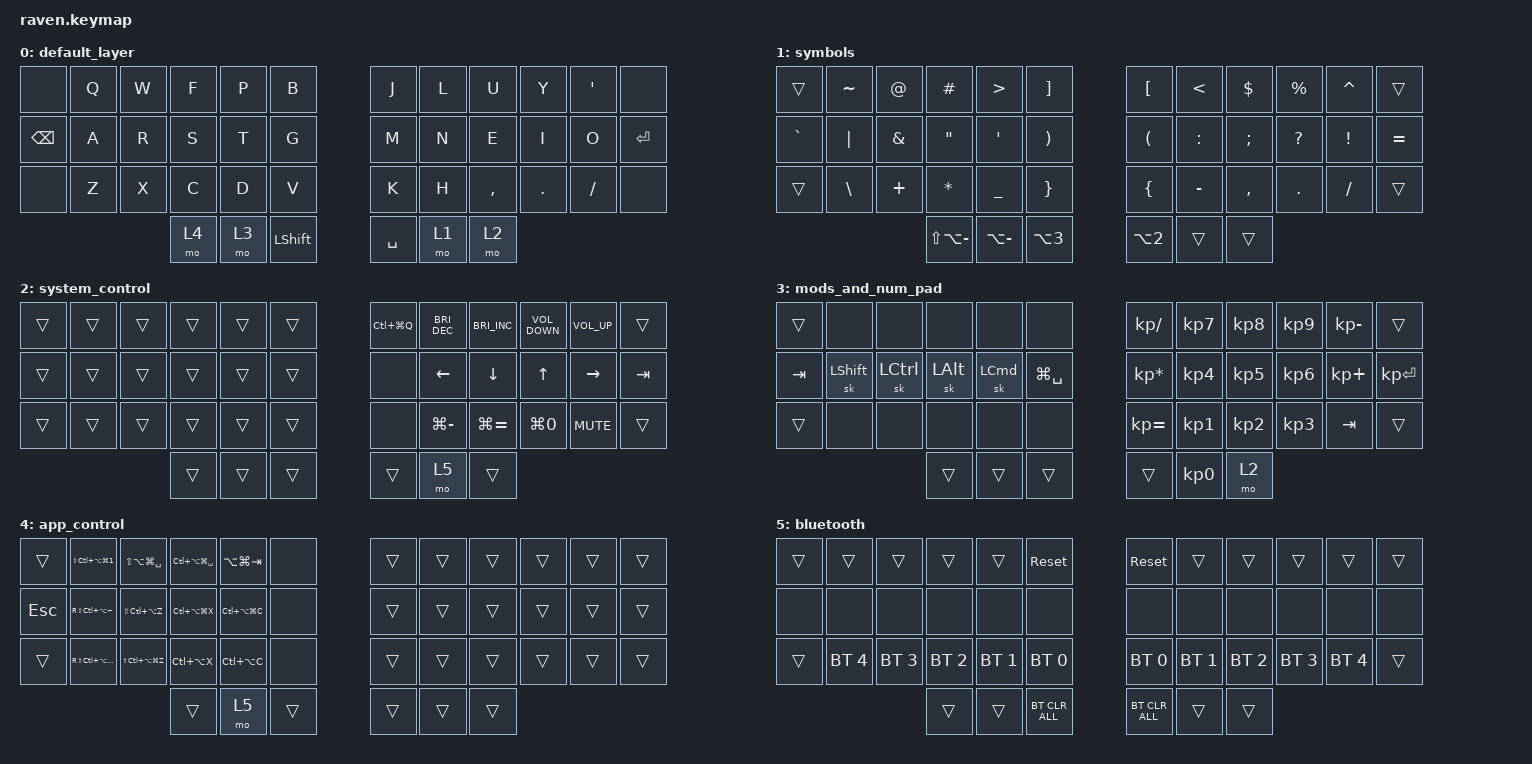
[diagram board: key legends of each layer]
/*
 * Copyright (c) 2020 The ZMK Contributors
 *
 * SPDX-License-Identifier: MIT
 */

#include <behaviors.dtsi>
#include <dt-bindings/zmk/bt.h>
#include <dt-bindings/zmk/keys.h>

&sk { quick-release; };

/ {
    keymap {
        compatible = "zmk,keymap";

        default_layer {
            bindings = <
&none          &kp Q  &kp W  &kp F  &kp P  &kp B           &kp J  &kp L      &kp U      &kp Y    &kp SINGLE_QUOTE  &none
&kp BACKSPACE  &kp A  &kp R  &kp S  &kp T  &kp G           &kp M  &kp N      &kp E      &kp I    &kp O             &kp ENTER
&none          &kp Z  &kp X  &kp C  &kp D  &kp V           &kp K  &kp H      &kp COMMA  &kp DOT  &kp FSLH          &none
                             &mo 4  &mo 3  &kp LEFT_SHIFT         &kp SPACE  &mo 1      &mo 2
            >;
        };

        symbols {
            bindings = <
&trans     &kp TILDE      &kp AT         &kp HASH           &kp GREATER_THAN  &kp RIGHT_BRACKET      &kp LEFT_BRACKET      &kp LESS_THAN  &kp DOLLAR     &kp PERCENT   &kp CARET        &trans
&kp GRAVE  &kp PIPE       &kp AMPERSAND  &kp DOUBLE_QUOTES  &kp SINGLE_QUOTE  &kp RIGHT_PARENTHESIS  &kp LEFT_PARENTHESIS  &kp COLON      &kp SEMICOLON  &kp QUESTION  &kp EXCLAMATION  &kp EQUAL
&trans     &kp BACKSLASH  &kp PLUS       &kp ASTERISK       &kp UNDERSCORE    &kp RIGHT_BRACE        &kp LEFT_BRACE        &kp MINUS      &kp COMMA      &kp PERIOD    &kp SLASH        &trans
                                         &kp LS(LA(MINUS))  &kp LA(MINUS)     &kp LA(NUMBER_3)                             &kp LA(N2)     &trans         &trans
            >;
        };

        system_control {
            bindings = <
&trans  &trans  &trans  &trans  &trans  &trans  &kp LC(LG(Q))  &kp C_BRIGHTNESS_DEC  &kp C_BRIGHTNESS_INC  &kp C_VOLUME_DOWN  &kp C_VOLUME_UP  &trans
&trans  &trans  &trans  &trans  &trans  &trans  &none          &kp LEFT_ARROW        &kp DOWN_ARROW        &kp UP_ARROW       &kp RIGHT_ARROW  &kp TAB
&trans  &trans  &trans  &trans  &trans  &trans  &none          &kp LG(MINUS)         &kp LG(EQUAL)         &kp LG(N0)         &kp C_MUTE       &trans
                        &trans  &trans  &trans                 &trans                &mo 5                 &trans
            >;
        };

        mods_and_num_pad {
            bindings = <
&trans   &none           &none             &none         &none             &none          &kp KP_DIVIDE    &kp KP_NUMBER_7  &kp KP_NUMBER_8  &kp KP_NUMBER_9  &kp KP_SUBTRACT  &trans
&kp TAB  &sk LEFT_SHIFT  &sk LEFT_CONTROL  &sk LEFT_ALT  &sk LEFT_COMMAND  &kp LG(SPACE)  &kp KP_MULTIPLY  &kp KP_NUMBER_4  &kp KP_NUMBER_5  &kp KP_NUMBER_6  &kp KP_PLUS      &kp KP_ENTER
&trans   &none           &none             &none         &none             &none          &kp KP_EQUAL     &kp KP_NUMBER_1  &kp KP_NUMBER_2  &kp KP_NUMBER_3  &kp TAB          &trans
                                           &trans        &trans            &trans                          &trans           &kp KP_N0        &mo 2
            >;
        };

        app_control {
            bindings = <
&trans      &kp LS(LC(LA(LG(NUMBER_1))))  &kp LS(LA(LG(SPACE)))  &kp LC(LA(LG(SPACE)))  &kp LA(LG(TAB))    &none   &trans  &trans  &trans  &trans  &trans  &trans
&kp ESCAPE  &kp RS(LC(LA(TILDE)))         &kp LS(LC(LA(Z)))      &kp LC(LA(LG(X)))      &kp LC(LA(LG(C)))  &none   &trans  &trans  &trans  &trans  &trans  &trans
&trans      &kp RS(LC(LA(LG(TILDE))))     &kp LS(LC(LA(LG(Z))))  &kp LC(LA(X))          &kp LC(LA(C))      &none   &trans  &trans  &trans  &trans  &trans  &trans
                                                                 &trans                 &mo 5              &trans          &trans  &trans  &trans
            >;
        };

        bluetooth {
            bindings = <
&trans  &trans        &trans        &trans        &trans        &sys_reset      &sys_reset    &trans          &trans        &trans        &trans        &trans
&none   &none         &none         &none         &none         &none           &none         &none           &none         &none         &none         &none
&trans  &bt BT_SEL 4  &bt BT_SEL 3  &bt BT_SEL 2  &bt BT_SEL 1  &bt BT_SEL 0    &bt BT_SEL 0  &bt BT_SEL 1    &bt BT_SEL 2  &bt BT_SEL 3  &bt BT_SEL 4  &trans
                                    &trans        &trans        &bt BT_CLR_ALL                &bt BT_CLR_ALL  &trans        &trans
            >;
        };
    };
};
